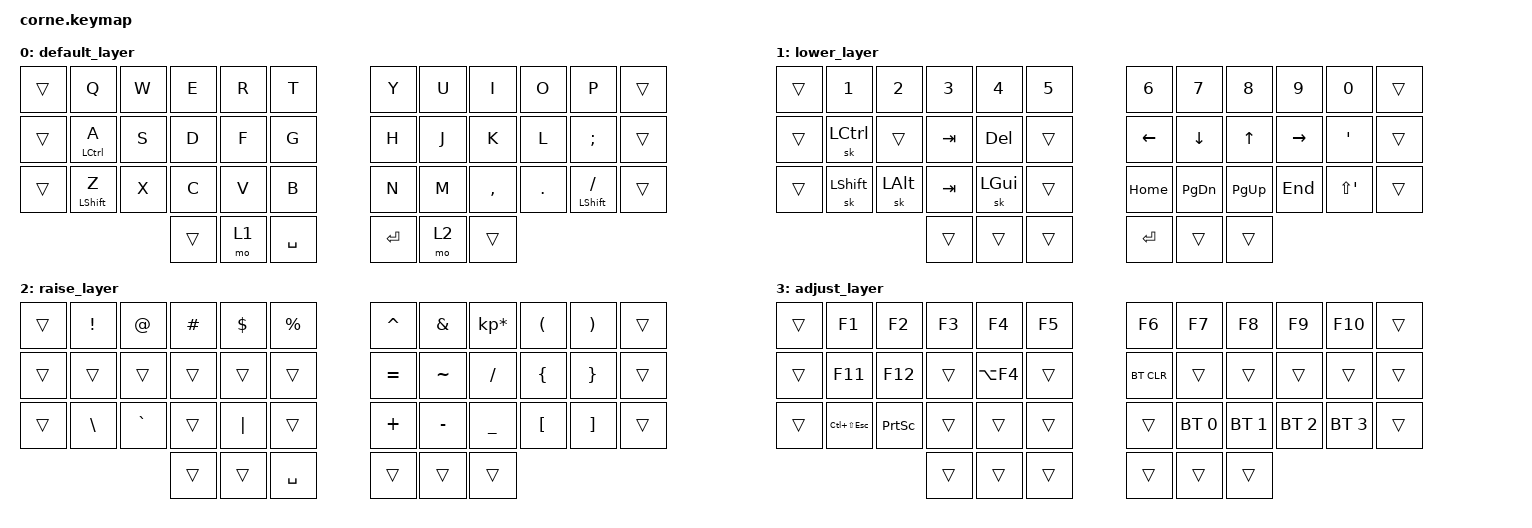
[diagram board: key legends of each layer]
/*
 * Copyright (c) 2020 The ZMK Contributors
 *
 * SPDX-License-Identifier: MIT
 */

#include <behaviors.dtsi>
#include <dt-bindings/zmk/keys.h>
#include <dt-bindings/zmk/bt.h>
#include <dt-bindings/zmk/outputs.h>

&sk {
      release-after-ms = <300>;
      quick-release;
};

/ {
      conditional_layers {
            compatible = "zmk,conditional-layers";
                  tri_layer {
                        if-layers = <1 2>;
                        then-layer = <3>;
                  };
      };

      behaviors {
            ht: hold_tap {
                  compatible = "zmk,behavior-hold-tap";
                  #binding-cells = <2>;
                  flavor = "tap-preferred";
                  tapping-term-ms = <225>;
                  require-prior-idle-ms = <125>;
                  bindings = <&kp>, <&kp>;
            };
      };

      combos {
            compatible = "zmk,combos";

            esc {
                  bindings = <&kp ESC>;
                  timeout-ms = <75>;
                  layers = <0>;
                  key-positions = <15 16>;
            };

            bksp {
                  bindings = <&kp BACKSPACE>;
                  timeout-ms = <75>;
                  layers = <0>;
                  key-positions = <19 20>;
            };
      };

      keymap {
            compatible = "zmk,keymap";

            default_layer {
                  bindings = <
// ╭──────────┬──────────┬──────────┬──────────┬──────────┬──────────╮ ╭──────────┬──────────┬──────────┬──────────┬──────────┬──────────╮
// |          |  Q       |  W       |  E       |  R       |  T       | |  Y       |  U       |  I       |  O       |  P       |          |
      &trans     &kp Q      &kp W      &kp E      &kp R      &kp T        &kp Y      &kp U      &kp I      &kp O      &kp P      &trans
// ├──────────┼──────────┼──────────┼──────────┼──────────┼──────────┤ ├──────────┼──────────┼──────────┼──────────┼──────────┼──────────┤
// |          |  A(CTRL) |  S       |  D(ESC1) |  F(ESC2) |  G       | |  H       |  J(BKSP1)|  K(BKSP2)|  L       |  : ;     |          |
      &trans     &ht LCTRL A &kp S     &kp D      &kp F      &kp G        &kp H      &kp J      &kp K      &kp L      &kp SEMI   &trans
// ├──────────┼──────────┼──────────┼──────────┼──────────┼──────────┤ ├──────────┼──────────┼──────────┼──────────┼──────────┼──────────┤
// |          |  Z(SHFT) |  X       |  C       |  V       |  B       | |  N       |  M       |  , <     |  . >     |  /?(SHFT)|          |
      &trans     &ht LSHFT Z &kp X     &kp C      &kp V      &kp B        &kp N      &kp M      &kp COMMA  &kp DOT    &ht LSHFT FSLH   &trans
// ╰──────────┴──────────┴──────────┴──────────┼──────────┼──────────┤ ├──────────┴──────────┴──────────┼──────────┴──────────┴──────────╯
//                                  |          |  LY1     |  SPC     | |  RETURN  |  LY2     |          |
                                       &trans     &mo 1      &kp SPACE    &kp RET    &mo 2      &trans
//                                  ╰──────────┴──────────┴──────────╯ ╰──────────┴──────────┴──────────╯
//
// 0
// ╭──────────┬──────────┬──────────┬──────────┬──────────┬──────────╮ ╭──────────┬──────────┬──────────┬──────────┬──────────┬──────────╮
// |          |  Q       |  W       |  E       |  R       |  T       | |  Y       |  U       |  I       |  O       |  P       |          |
// ├──────────┼──────────┼──────────┼──────────┼──────────┼──────────┤ ├──────────┼──────────┼──────────┼──────────┼──────────┼──────────┤
// |          |  A(CTRL) |  S       |  D(ESC1) |  F(ESC2) |  G       | |  H       |  J(BKSP1)|  K(BKSP2)|  L       |  :;      |          |
// ├──────────┼──────────┼──────────┼──────────┼──────────┼──────────┤ ├──────────┼──────────┼──────────┼──────────┼──────────┼──────────┤
// |          |  Z(SHFT) |  X       |  C       |  V       |  B       | |  N       |  M       |  , <     |  . >     |  /?(SHFT)|          |
// ╰──────────┴──────────┴──────────┴──────────┼──────────┼──────────┤ ├──────────┴──────────┴──────────┼──────────┴──────────┴──────────╯
//                                  |          |  LY1     |  SPC     | |  RETURN  |  LY2     |          |
//                                  ╰──────────┴──────────┴──────────╯ ╰──────────┴──────────┴──────────╯

                  >;
            };
            lower_layer {
                  bindings = <
// ╭──────────┬──────────┬──────────┬──────────┬──────────┬──────────╮ ╭──────────┬──────────┬──────────┬──────────┬──────────┬──────────╮
// |          |  1       |  2       |  3       |  4       |  5       | |  6       |  7       |  8       |  9       |  0       |          |
      &trans     &kp N1    &kp N2     &kp N3     &kp N4     &kp N5       &kp N6     &kp N7     &kp N8     &kp N9     &kp N0     &trans
// ├──────────┼──────────┼──────────┼──────────┼──────────┼──────────┤ ├──────────┼──────────┼──────────┼──────────┼──────────┼──────────┤
// |          |  CTRLst  |          |  TAB     |  DEL     |          | |  LFT     |  DWN     |  UP      |  RGT     |  '       |          |
      &trans     &sk LCTRL  &trans     &kp TAB    &kp DEL    &trans       &kp LEFT   &kp DOWN   &kp UP     &kp RIGHT  &kp SQT    &trans
// ├──────────┼──────────┼──────────┼──────────┼──────────┼──────────┤ ├──────────┼──────────┼──────────┼──────────┼──────────┼──────────┤
// |          |  SHIFTst |  ALTst   |  TAB     |  GUIst   |          | |  HOME    |  PAGE_DWN|  PAGE_UP |  END     |  "       |          |
      &trans     &sk LSHFT  &sk LALT   &kp TAB    &sk LGUI   &trans       &kp HOME   &kp PG_DN  &kp PG_UP  &kp END    &kp LS(SQT) &trans
// ╰──────────┴──────────┴──────────┴──────────┼──────────┼──────────┤ ├──────────┴──────────┴──────────┼──────────┴──────────┴──────────╯
//                                  |          |          |          | |  RETURN  |          |          |
                                       &trans     &trans     &trans       &kp RET    &trans     &trans
//                                  ╰──────────┴──────────┴──────────╯ ╰──────────┴──────────┴──────────╯
//
// 1
// ╭──────────┬──────────┬──────────┬──────────┬──────────┬──────────╮ ╭──────────┬──────────┬──────────┬──────────┬──────────┬──────────╮
// |          |  1       |  2       |  3       |  4       |  5       | |  6       |  7       |  8       |  9       |  0       |          |
// ├──────────┼──────────┼──────────┼──────────┼──────────┼──────────┤ ├──────────┼──────────┼──────────┼──────────┼──────────┼──────────┤
// |          |  CTRLst  |          |  TAB     |  DEL     |          | |  LFT     |  DWN     |  UP      |  RGT     |  '       |          |
// ├──────────┼──────────┼──────────┼──────────┼──────────┼──────────┤ ├──────────┼──────────┼──────────┼──────────┼──────────┼──────────┤
// |          |  SHIFTst |  ALTst   |  TAB     |  GUIst   |          | |  HOME    |  PAGE_DWN|  PAGE_UP |  END     |  "       |          |
// ╰──────────┴──────────┴──────────┴──────────┼──────────┼──────────┤ ├──────────┴──────────┴──────────┼──────────┴──────────┴──────────╯
//                                  |          |          |          | |  RETURN  |          |          |
//                                  ╰──────────┴──────────┴──────────╯ ╰──────────┴──────────┴──────────╯
                  >;
            };
            raise_layer {
                  bindings = <
// ╭──────────┬──────────┬──────────┬──────────┬──────────┬──────────╮ ╭──────────┬──────────┬──────────┬──────────┬──────────┬──────────╮
// |          |  !       |  @       |  #       |  $       |  %       | |  ^       |  &       |  *       |  (       |  )       |          |
      &trans     &kp EXCL   &kp AT     &kp HASH   &kp DLLR   &kp PRCNT    &kp CARET  &kp AMPS   &kp KP_MULTIPLY &kp LPAR &kp RPAR &trans
// ├──────────┼──────────┼──────────┼──────────┼──────────┼──────────┤ ├──────────┼──────────┼──────────┼──────────┼──────────┼──────────┤
// |          |          |          |          |          |          | |  =       |  ~       |  /       |  {       |  }       |          |
      &trans     &trans     &trans     &trans     &trans  &trans          &kp EQUAL  &kp TILDE  &kp SLASH   &kp LBRC   &kp RBRC   &trans
// ├──────────┼──────────┼──────────┼──────────┼──────────┼──────────┤ ├──────────┼──────────┼──────────┼──────────┼──────────┼──────────┤
// |          |  \       |  `       |          | "|"      |          | |  +       |  -       |  _       |  [       |  ]       |          |
      &trans     &kp BSLH   &kp GRAVE  &trans     &kp PIPE   &trans       &kp PLUS   &kp MINUS  &kp UNDER  &kp LBKT   &kp RBKT   &trans
// ╰──────────┴──────────┴──────────┴──────────┼──────────┼──────────┤ ├──────────┴──────────┴──────────┼──────────┴──────────┴──────────╯
//                                  |          |          |  SPC     | |          |          |          |
                                       &trans     &trans     &kp SPACE    &trans    &trans     &trans
//                                  ╰──────────┴──────────┴──────────╯ ╰──────────┴──────────┴──────────╯
//
// 2
// ╭──────────┬──────────┬──────────┬──────────┬──────────┬──────────╮ ╭──────────┬──────────┬──────────┬──────────┬──────────┬──────────╮
// |          |  !       |  @       |  #       |  $       |  %       | |  ^       |  &       |  *       |  (       |  )       |          |
// ├──────────┼──────────┼──────────┼──────────┼──────────┼──────────┤ ├──────────┼──────────┼──────────┼──────────┼──────────┼──────────┤
// |          |          |          |          |          |          | |  =       |  ~       |  /       |  {       |  }       |          |
// ├──────────┼──────────┼──────────┼──────────┼──────────┼──────────┤ ├──────────┼──────────┼──────────┼──────────┼──────────┼──────────┤
// |          |  \       |  `       |          | "|"      |          | |  +       |  -       |  _       |  [       |  ]       |          |
// ╰──────────┴──────────┴──────────┴──────────┼──────────┼──────────┤ ├──────────┴──────────┴──────────┼──────────┴──────────┴──────────╯
//                                  |          |          |  SPC     | |          |          |          |
//                                  ╰──────────┴──────────┴──────────╯ ╰──────────┴──────────┴──────────╯
                  >;
            };
            adjust_layer {
                  bindings = <
// ╭──────────┬──────────┬──────────┬──────────┬──────────┬──────────╮ ╭──────────┬──────────┬──────────┬──────────┬──────────┬──────────╮
// |          |  F1      |  F2      |  F3      |  F4      |  F5      | |  F6      |  F7      |  F8      |  F9      |  F10     |          |
      &trans     &kp F1     &kp F2     &kp F3     &kp F4     &kp F5       &kp F6     &kp F7     &kp F8     &kp F9     &kp F10    &trans
// ├──────────┼──────────┼──────────┼──────────┼──────────┼──────────┤ ├──────────┼──────────┼──────────┼──────────┼──────────┼──────────┤
// |          |  F11     |  F12     |          |  ALT+F4  |          | |  BTC     |          |          |          |          |          |
      &trans     &kp F11    &kp F12    &trans     &kp LA(F4) &trans       &bt BT_CLR &trans    &trans      &trans     &trans     &trans
// ├──────────┼──────────┼──────────┼──────────┼──────────┼──────────┤ ├──────────┼──────────┼──────────┼──────────┼──────────┼──────────┤
// |          |  TASKMNG | PRNTSCRN |          |          |          | |          |  BT1     |   BT2    |  BT3     |  BT4     |          |
      &trans &kp LC(LS(ESC)) &kp PSCRN &trans     &trans     &trans      &trans &bt BT_SEL 0 &bt BT_SEL 1 &bt BT_SEL 2 &bt BT_SEL 3 &trans
// ╰──────────┴──────────┴──────────┴──────────┼──────────┼──────────┤ ├──────────┴──────────┴──────────┼──────────┴──────────┴──────────╯
//                                  |          |          |          | |          |          |          |
                                       &trans     &trans     &trans      &trans    &trans     &trans
//                                  ╰──────────┴──────────┴──────────╯ ╰──────────┴──────────┴──────────╯
//
// 3
// ╭──────────┬──────────┬──────────┬──────────┬──────────┬──────────╮ ╭──────────┬──────────┬──────────┬──────────┬──────────┬──────────╮
// |          |  F1      |  F2      |  F3      |  F4      |  F5      | |  F6      |  F7      |  F8      |  F9      |  F10     |          |
// ├──────────┼──────────┼──────────┼──────────┼──────────┼──────────┤ ├──────────┼──────────┼──────────┼──────────┼──────────┼──────────┤
// |          |  F11     |  F12     |          |  ALT+F4  |          | |  BTC     |          |          |          |          |          |
// ├──────────┼──────────┼──────────┼──────────┼──────────┼──────────┤ ├──────────┼──────────┼──────────┼──────────┼──────────┼──────────┤
// |          |  TASKMNG | PRNTSCRN |          |          |          | |          |  BT1     |   BT2    |  BT3     |  BT4     |          |
// ╰──────────┴──────────┴──────────┴──────────┼──────────┼──────────┤ ├──────────┴──────────┴──────────┼──────────┴──────────┴──────────╯
//                                  |          |          |          | |          |          |          |
//                                  ╰──────────┴──────────┴──────────╯ ╰──────────┴──────────┴──────────╯
                  >;
            };
      };
};
// ---------------------------------------------------------------------------------------------------------------------------------------
//
// 0
// ╭──────────┬──────────┬──────────┬──────────┬──────────┬──────────╮ ╭──────────┬──────────┬──────────┬──────────┬──────────┬──────────╮
// |          |  Q       |  W       |  E       |  R       |  T       | |  Y       |  U       |  I       |  O       |  P       |          |
// ├──────────┼──────────┼──────────┼──────────┼──────────┼──────────┤ ├──────────┼──────────┼──────────┼──────────┼──────────┼──────────┤
// |          |  A(CTRL) |  S       |  D(ESC1) |  F(ESC2) |  G       | |  H       |  J(BKSP1)|  K(BKSP2)|  L       |  : ;     |          |
// ├──────────┼──────────┼──────────┼──────────┼──────────┼──────────┤ ├──────────┼──────────┼──────────┼──────────┼──────────┼──────────┤
// |          |  Z(SHFT) |  X       |  C       |  V       |  B       | |  N       |  M       |  , <     |  . >     |  /?(SHFT)|          |
// ╰──────────┴──────────┴──────────┴──────────┼──────────┼──────────┤ ├──────────┴──────────┴──────────┼──────────┴──────────┴──────────╯
//                                  |          |  LY1     |  SPC     | |  RETURN  |  LY2     |          |
//                                  ╰──────────┴──────────┴──────────╯ ╰──────────┴──────────┴──────────╯
// 1
// ╭──────────┬──────────┬──────────┬──────────┬──────────┬──────────╮ ╭──────────┬──────────┬──────────┬──────────┬──────────┬──────────╮
// |          |  1       |  2       |  3       |  4       |  5       | |  6       |  7       |  8       |  9       |  0       |          |
// ├──────────┼──────────┼──────────┼──────────┼──────────┼──────────┤ ├──────────┼──────────┼──────────┼──────────┼──────────┼──────────┤
// |          |  CTRLst  |          |  TAB     |  DEL     |          | |  LFT     |  DWN     |  UP      |  RGT     |  '       |          |
// ├──────────┼──────────┼──────────┼──────────┼──────────┼──────────┤ ├──────────┼──────────┼──────────┼──────────┼──────────┼──────────┤
// |          |  SHIFTst |  ALTst   |  TAB     |  GUIst   |          | |  HOME    |  PAGE_DWN|  PAGE_UP |  END     |  "       |          |
// ╰──────────┴──────────┴──────────┴──────────┼──────────┼──────────┤ ├──────────┴──────────┴──────────┼──────────┴──────────┴──────────╯
//                                  |          |          |          | |  RETURN  |          |          |
//                                  ╰──────────┴──────────┴──────────╯ ╰──────────┴──────────┴──────────╯
// 2
// ╭──────────┬──────────┬──────────┬──────────┬──────────┬──────────╮ ╭──────────┬──────────┬──────────┬──────────┬──────────┬──────────╮
// |          |  !       |  @       |  #       |  $       |  %       | |  ^       |  &       |  *       |  (       |  )       |          |
// ├──────────┼──────────┼──────────┼──────────┼──────────┼──────────┤ ├──────────┼──────────┼──────────┼──────────┼──────────┼──────────┤
// |          |          |          |          |          |          | |  =       |  ~       |  /       |  {       |  }       |          |
// ├──────────┼──────────┼──────────┼──────────┼──────────┼──────────┤ ├──────────┼──────────┼──────────┼──────────┼──────────┼──────────┤
// |          |  \       |  `       |          | "|"      |          | |  +       |  -       |  _       |  [       |  ]       |          |
// ╰──────────┴──────────┴──────────┴──────────┼──────────┼──────────┤ ├──────────┴──────────┴──────────┼──────────┴──────────┴──────────╯
//                                  |          |          |  SPC     | |          |          |          |
//                                  ╰──────────┴──────────┴──────────╯ ╰──────────┴──────────┴──────────╯
// 3
// ╭──────────┬──────────┬──────────┬──────────┬──────────┬──────────╮ ╭──────────┬──────────┬──────────┬──────────┬──────────┬──────────╮
// |          |  F1      |  F2      |  F3      |  F4      |  F5      | |  F6      |  F7      |  F8      |  F9      |  F10     |          |
// ├──────────┼──────────┼──────────┼──────────┼──────────┼──────────┤ ├──────────┼──────────┼──────────┼──────────┼──────────┼──────────┤
// |          |  F11     |  F12     |          |  ALT+F4  |          | |  BTC     |          |          |          |          |          |
// ├──────────┼──────────┼──────────┼──────────┼──────────┼──────────┤ ├──────────┼──────────┼──────────┼──────────┼──────────┼──────────┤
// |          |  TASKMNG | PRNTSCRN |          |          |          | |          |  BT1     |   BT2    |  BT3     |  BT4     |          |
// ╰──────────┴──────────┴──────────┴──────────┼──────────┼──────────┤ ├──────────┴──────────┴──────────┼──────────┴──────────┴──────────╯
//                                  |          |          |          | |          |          |          |
//                                  ╰──────────┴──────────┴──────────╯ ╰──────────┴──────────┴──────────╯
